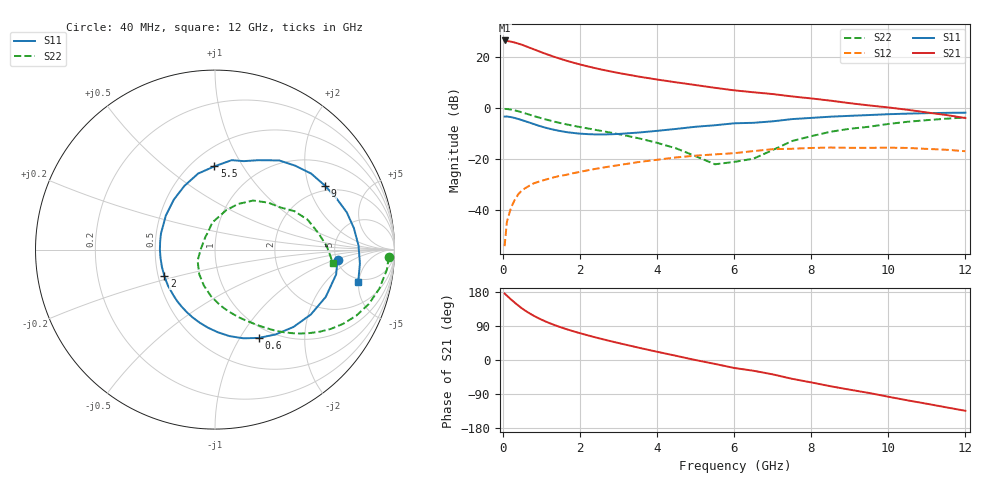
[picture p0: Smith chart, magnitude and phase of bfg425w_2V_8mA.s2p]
! Filename: 28bfg425.001
! BFG425W Field C1
! V1=8.411E-001V,V2=2.000E+000V, I1=1.071E-004A, I2=8.000E-003A
# GHz  S  MA  R 50
!  S11  S21  S12  S22
!Freq(GHz)  Mag  Ang  Mag  Ang  Mag  Ang  Mag  Ang
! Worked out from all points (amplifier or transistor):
!   44 points, 40 MHz to 12 GHz, reference 50 ohm
!   highest |S21| = 26.5 dB at 40 MHz (marker M1)
!   |S21| within 3 dB of that: start of sweep to 716.9 MHz
!   unconditionally stable (mu >= 1): 2.063 GHz to end of sweep
!   at 700 MHz: K = 0.46, MSG = 26.9 dB, |S12| = -30.2 dB
!   at 2.4 GHz: K = 1.07, MAG = 18.0 dB, |S12| = -23.7 dB
!   at 12 GHz: K = 1.41, MAG = 2.7 dB, |S12| = -16.8 dB
!   S11 on the Smith chart (normalised r, x): 40 MHz: 5.11, -1.09; 600 MHz: 0.86, -1.21; 2 GHz: 0.54, -0.18; 5.5 GHz: 0.64, +0.76; 9 GHz: 1.80, +2.58; 12 GHz: 4.54, -4.92
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0.04  0.685 -4.7  21.15 175.3  0.002 81.7  0.969 -2.5
0.2  0.671 -23.1  20.09 160.3  0.011 77.5  0.941 -13.4
0.3  0.645 -34.1  19.28 151.7  0.016 72.3  0.909 -19.5
0.4  0.614 -44.6  18.32 143.3  0.021 67.2  0.869 -25.1
0.5  0.581 -54.5  17.3 135.5  0.025 63.0  0.826 -30.0
0.6  0.549 -63.7  16.19 128.6  0.028 59.5  0.783 -34.3
0.8  0.489 -80.4  14.17 116.6  0.034 53.8  0.702 -41.5
0.9  0.461 -88.0  13.25 111.2  0.036 51.7  0.667 -44.5
1.2  0.398 -108.2  10.93 97.6  0.042 46.8  0.578 -52.0
1.4  0.368 -120.4  9.715 89.9  0.046 44.7  0.53 -56.1
1.6  0.345 -131.9  8.713 82.9  0.049 42.8  0.491 -59.8
2  0.318 -152.6  7.17 70.6  0.057 39.7  0.428 -66.8
2.2  0.311 -162.2  6.572 65.0  0.061 38.1  0.402 -70.3
3  0.314 163.5  4.882 44.7  0.077 30.9  0.311 -84.7
3.5  0.333 145.4  4.182 33.0  0.088 25.5  0.26 -95.0
4.5  0.394 115.6  3.202 10.8  0.109 12.6  0.163 -122.6
5.5  0.464 90.4  2.505 -10.3  0.125 -1.8  0.08 179.5
6.5  0.518 72.1  2.05 -28.4  0.145 -12.7  0.103 113.0
8.5  0.683 38.3  1.405 -69.3  0.17 -48.9  0.346 52.2
9  0.709 30.1  1.254 -78.4  0.168 -57.0  0.396 41.4
10.5  0.783 8.8  0.931 -106.5  0.167 -83.6  0.543 17.8
12  0.818 -12.7  0.642 -134.0  0.144 -113.4  0.661 -6.5
